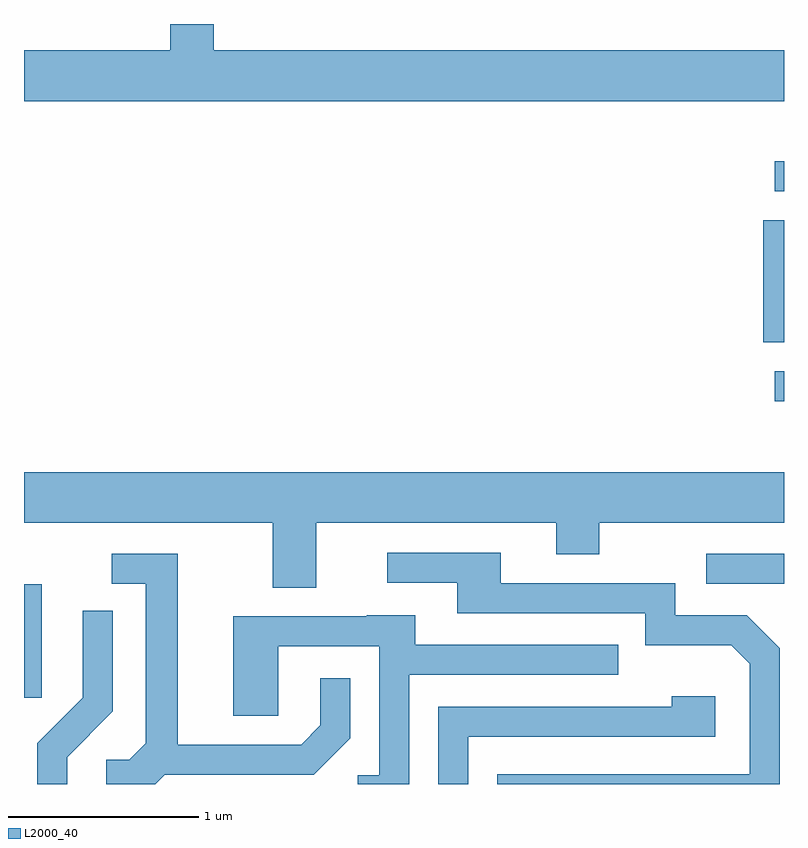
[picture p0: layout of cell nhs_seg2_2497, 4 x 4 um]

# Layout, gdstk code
import gdstk
lib = gdstk.Library(unit=1e-6, precision=1e-09)
def R(c, l, rs):  # rectangles x0, y0, x1, y1
    for r in rs: c.add(gdstk.rectangle(r[:2], r[2:], *l))
def P(c, l, *ps):  # polygons
    for p in ps: c.add(gdstk.Polygon(p, *l))
L2000_40 = (2000, 40)

nhs_seg2_2497 = lib.new_cell('nhs_seg2_2497')
R(nhs_seg2_2497, L2000_40, [(257.611,1076.256,257.704,1076.854), (261.203,1076.856,261.611,1077.014), (261.563,1077.816,261.611,1077.974), (261.501,1078.126,261.611,1078.769), (261.563,1078.921,261.611,1079.079)])
P(nhs_seg2_2497, L2000_40, [(261.611,1079.664),(258.609,1079.664),(258.609,1079.802),(258.381,1079.802),(258.381,1079.664),(257.611,1079.664),(257.611,1079.396),(261.611,1079.396)],
  [(259.149,1077.176),(260.411,1077.176),(260.411,1077.011),(260.639,1077.011),(260.639,1077.176),(261.611,1077.176),(261.611,1077.444),(257.611,1077.444),(257.611,1077.176),(258.921,1077.176),(258.921,1076.836),(259.149,1076.836)],
  [(261.589,1076.517),(261.416,1076.689),(261.039,1076.689),(261.039,1076.859),(260.119,1076.859),(260.119,1077.019),(259.522,1077.019),(259.522,1076.861),(259.891,1076.861),(259.891,1076.701),(260.881,1076.701),(260.881,1076.531),(261.334,1076.531),(261.431,1076.434),(261.431,1075.854),(260.101,1075.854),(260.101,1075.802),(261.589,1075.802)],
  [(258.352,1075.851),(259.137,1075.851),(259.329,1076.044),(259.329,1076.358),(259.171,1076.358),(259.171,1076.112),(259.069,1076.009),(258.419,1076.009),(258.419,1077.014),(258.073,1077.014),(258.073,1076.856),(258.251,1076.856),(258.251,1076.017),(258.164,1075.929),(258.043,1075.929),(258.043,1075.802),(258.303,1075.802)],
  [(257.839,1075.944),(258.079,1076.184),(258.079,1076.713),(257.921,1076.713),(257.921,1076.257),(257.681,1076.017),(257.681,1075.802),(257.839,1075.802)],
  [(259.639,1076.376),(260.738,1076.376),(260.738,1076.534),(259.669,1076.534),(259.669,1076.689),(259.415,1076.689),(259.415,1076.684),(258.711,1076.684),(258.711,1076.161),(258.949,1076.161),(258.949,1076.526),(259.481,1076.526),(259.481,1075.849),(259.368,1075.849),(259.368,1075.802),(259.639,1075.802)],
  [(259.949,1076.051),(261.249,1076.051),(261.249,1076.264),(261.021,1076.264),(261.021,1076.209),(259.791,1076.209),(259.791,1075.802),(259.949,1075.802)])

lib.write_gds('nhs_seg2_2497.gds')
